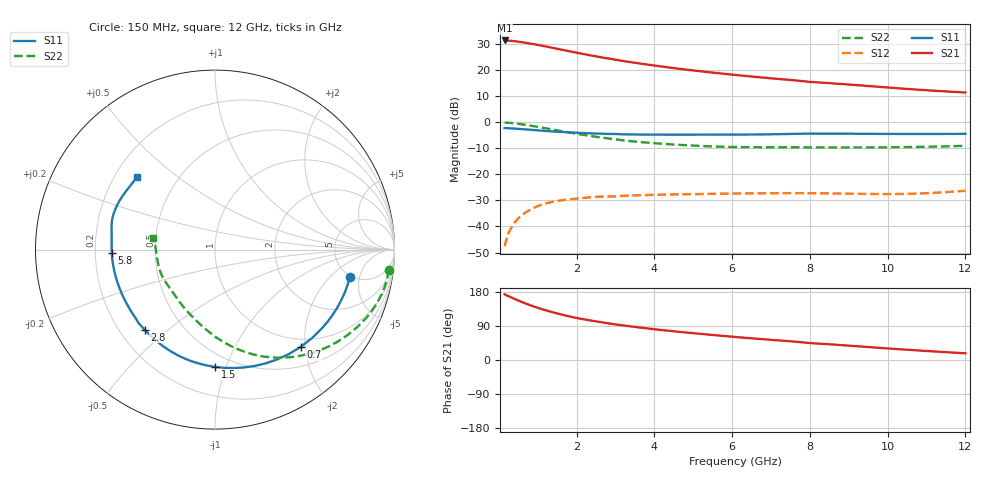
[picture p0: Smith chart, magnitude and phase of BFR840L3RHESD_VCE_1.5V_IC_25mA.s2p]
! Infineon Technologies  Discrete & RF Semiconductors
! BFR840L3RHESD
! VCE =  1.5 V,  IC =  25 mA
! Common Emitter S-Parameters:  Jun 2012
# GHz  S  MA  R  50
!  f  S11  S21  S12  S22
! GHz  MAG  ANG  MAG  ANG  MAG  ANG  MAG  ANG
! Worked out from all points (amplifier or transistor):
!   91 points, 150 MHz to 12 GHz, reference 50 ohm
!   highest |S21| = 31.3 dB at 150 MHz (marker M1)
!   |S21| within 3 dB of that: start of sweep to 1.441 GHz
!   unconditionally stable (mu >= 1): 6.79 GHz to end of sweep
!   at 1.3 GHz: K = 0.21, MSG = 29.8 dB, |S12| = -30.8 dB
!   at 4.3 GHz: K = 0.64, MSG = 24.4 dB, |S12| = -27.8 dB
!   at 12 GHz: K = 1.76, MAG = 13.8 dB, |S12| = -26.3 dB
!   S11 on the Smith chart (normalised r, x): 150 MHz: 4.90, -3.59; 700 MHz: 0.84, -1.91; 1.5 GHz: 0.40, -0.92; 2.8 GHz: 0.30, -0.42; 5.8 GHz: 0.27, -0.02; 12 GHz: 0.29, +0.37
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0.15  0.7675 -11.3  36.52 173.2  0.0042 81.6  0.9747 -6.6
0.25  0.7615 -18.5  36.24 168.5  0.0074 77.3  0.9686 -12.0
0.4  0.7495 -29.1  35.38 161.5  0.0117 73.0  0.946 -19.4
0.6  0.7316 -42.4  33.79 152.8  0.0166 66.8  0.9035 -28.4
0.7  0.7222 -48.7  32.9 148.7  0.0188 63.6  0.8801 -32.6
0.9  0.7033 -60.5  31.01 141.2  0.0227 57.9  0.8324 -40.4
1.1  0.6849 -71.2  29.08 134.5  0.0261 53.3  0.7851 -47.5
1.3  0.6681 -81.1  27.16 128.5  0.0287 49.7  0.739 -54.0
1.5  0.6535 -90.0  25.33 122.9  0.0308 46.7  0.6949 -60.1
1.8  0.6352 -102.1  22.81 115.4  0.033 42.3  0.6339 -68.3
2.2  0.6147 -115.7  19.92 107.1  0.0354 36.3  0.5649 -77.7
2.5  0.6024 -124.1  18.09 101.9  0.0369 33.4  0.5223 -83.8
2.8  0.5938 -131.4  16.58 97.1  0.0376 32.7  0.4873 -89.6
3.4  0.5796 -144.5  14.01 88.6  0.0392 29.0  0.4308 -99.8
4.2  0.5737 -157.7  11.55 78.9  0.0408 27.3  0.3842 -111.8
5  0.5735 -168.8  9.743 70.8  0.0417 25.5  0.3543 -123.0
5.8  0.5752 -177.9  8.393 63.3  0.0426 24.9  0.3361 -133.4
6.1  0.5758 179.0  7.963 60.6  0.0428 24.8  0.3325 -137.1
8  0.5992 160.8  5.87 44.6  0.0434 23.6  0.3276 -161.2
8.5  0.5995 157.2  5.562 41.5  0.043 23.5  0.3264 -165.5
10.5  0.5912 143.6  4.311 27.1  0.0421 30.8  0.3318 177.7
12  0.5948 136.9  3.678 17.7  0.0483 38.1  0.3505 169.0
